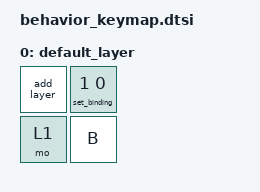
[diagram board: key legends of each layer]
#include <dt-bindings/zmk/keys.h>
#include <behaviors.dtsi>
#include <dt-bindings/zmk/kscan_mock.h>

/ {
    behaviors {
        add_layer: add_layer {
            compatible = "zmk,behavior-add-layer";
            #binding-cells = <0>;
        };

        set_binding: set_binding {
            compatible = "zmk,behavior-set-layer-binding-at-idx";
            #binding-cells = <2>;
            bindings = <&kp A>, <&kp B>;
        };
    };

    keymap {
        compatible = "zmk,keymap";

        default_layer {
            bindings = <
                &add_layer &set_binding 1 0
                &mo 1 &kp B>;
        };

        layer_1 {
            status = "reserved";
        };
    };
};
